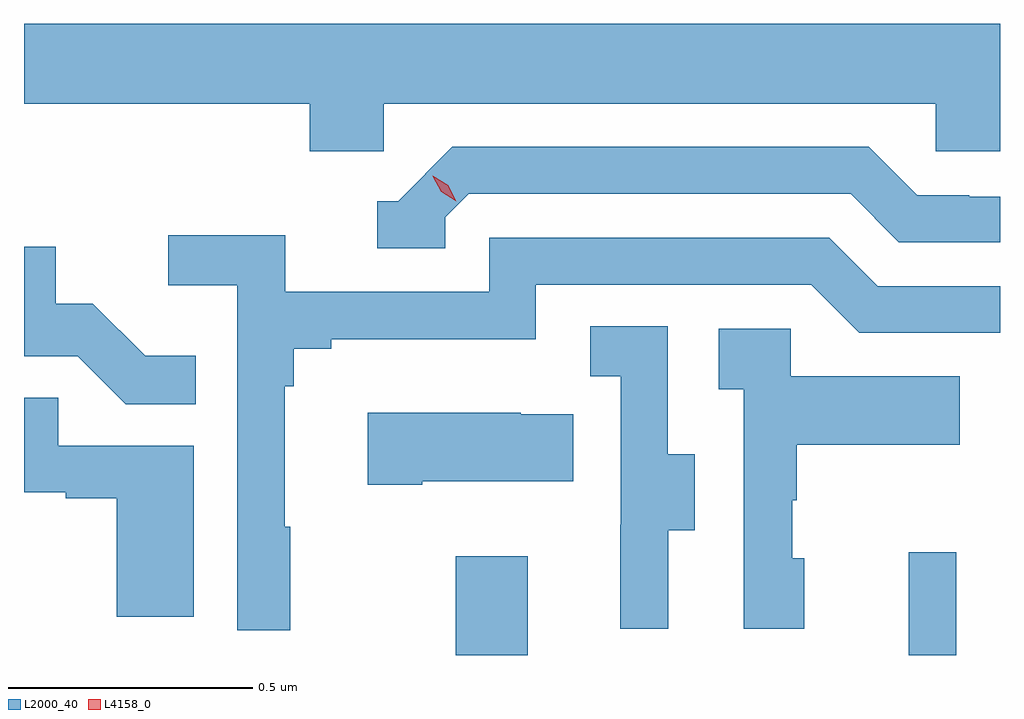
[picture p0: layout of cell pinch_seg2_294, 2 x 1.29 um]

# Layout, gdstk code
import gdstk
lib = gdstk.Library(unit=1e-6, precision=1e-09)
def R(c, l, rs):  # rectangles x0, y0, x1, y1
    for r in rs: c.add(gdstk.rectangle(r[:2], r[2:], *l))
def P(c, l, *ps):  # polygons
    for p in ps: c.add(gdstk.Polygon(p, *l))
L2000_40 = (2000, 40)
L4158_0 = (4158, 0)

pinch_seg2_294 = lib.new_cell('pinch_seg2_294')
R(pinch_seg2_294, L2000_40, [(931.06,638.513,931.207,638.716), (931.988,638.513,932.085,638.725)])
P(pinch_seg2_294, L2000_40, [(930.912,639.644),(932.043,639.644),(932.043,639.546),(932.175,639.546),(932.175,639.808),(930.175,639.808),(930.175,639.644),(930.761,639.644),(930.761,639.546),(930.912,639.546)],
  [(931.038,639.411),(931.086,639.459),(931.869,639.459),(931.968,639.36),(932.175,639.36),(932.175,639.453),(932.112,639.453),(932.112,639.456),(932.005,639.456),(931.906,639.555),(931.053,639.555),(930.942,639.444),(930.899,639.444),(930.899,639.348),(931.038,639.348)],
  [(930.721,638.777),(930.709,638.777),(930.709,639.065),(930.728,639.065),(930.728,639.142),(930.805,639.142),(930.805,639.161),(931.224,639.161),(931.224,639.273),(931.788,639.273),(931.887,639.174),(932.175,639.174),(932.175,639.27),(931.924,639.27),(931.825,639.369),(931.128,639.369),(931.128,639.258),(930.71,639.258),(930.71,639.374),(930.471,639.374),(930.471,639.272),(930.612,639.272),(930.612,638.565),(930.721,638.565)],
  [(930.527,639.127),(930.423,639.127),(930.316,639.234),(930.24,639.234),(930.24,639.351),(930.175,639.351),(930.175,639.126),(930.285,639.126),(930.383,639.028),(930.527,639.028)],
  [(931.495,638.77),(931.549,638.77),(931.549,638.925),(931.494,638.925),(931.494,639.188),(931.335,639.188),(931.335,639.085),(931.398,639.085),(931.398,638.781),(931.397,638.781),(931.397,638.568),(931.495,638.568)],
  [(931.774,638.712),(931.749,638.712),(931.749,638.831),(931.759,638.831),(931.759,638.945),(932.093,638.945),(932.093,639.085),(931.746,639.085),(931.746,639.183),(931.599,639.183),(931.599,639.059),(931.65,639.059),(931.65,638.568),(931.774,638.568)],
  [(930.523,638.943),(930.245,638.943),(930.245,639.041),(930.175,639.041),(930.175,638.847),(930.261,638.847),(930.261,638.835),(930.365,638.835),(930.365,638.592),(930.523,638.592)],
  [(930.991,638.87),(931.301,638.87),(931.301,639.007),(931.193,639.007),(931.193,639.01),(930.879,639.01),(930.879,638.863),(930.991,638.863)])
P(pinch_seg2_294, L4158_0, [(931.061,639.444),(931.03,639.463),(931.013,639.495),(931.013,639.496),(931.013,639.496),(931.044,639.477),(931.061,639.444),(931.061,639.444)])

lib.write_gds('pinch_seg2_294.gds')
